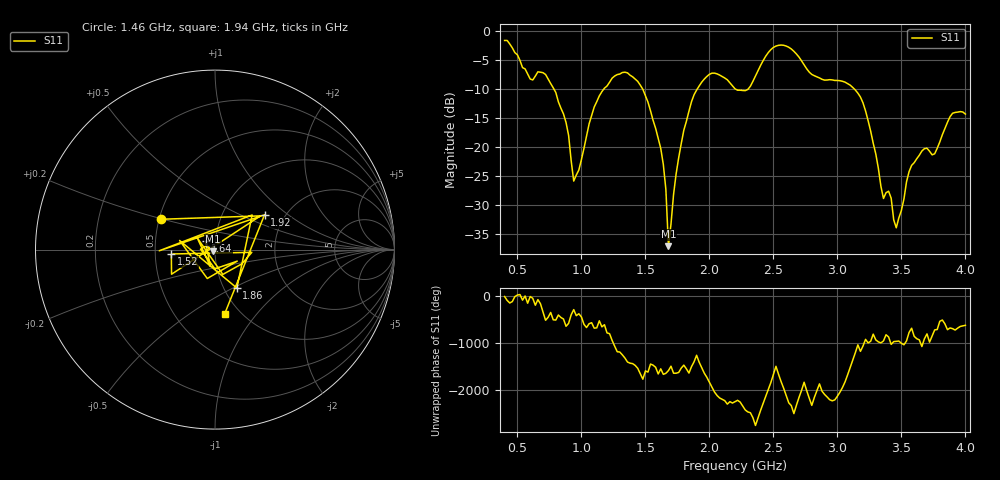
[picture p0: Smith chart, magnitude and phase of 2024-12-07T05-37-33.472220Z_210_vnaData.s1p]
!Created with skrf (http://scikit-rf.org).
# Hz S RI R 50.0
!freq ReS11 ImS11
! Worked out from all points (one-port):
!   181 points, 400 MHz to 4 GHz, reference 50 ohm
!   lowest |S11| = -37.1 dB at 1.68 GHz (marker M1), VSWR 1.03, Z = 48.9 - j0.836 ohm
!   |S11| at or under -10 dB: 785.9 MHz to 1.174 GHz (388.3 MHz wide, 39.6 % of centre); 1.479 GHz to 1.904 GHz (424.8 MHz wide, 25.1 % of centre); 3.134 GHz to end of sweep (the widest 3 of 4)
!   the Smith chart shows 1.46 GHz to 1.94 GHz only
!   S11 on the Smith chart (normalised r, x): 1.46 GHz: 0.51, +0.20; 1.52 GHz: 0.61, -0.03; 1.64 GHz: 0.90, +0.08; 1.86 GHz: 1.15, -0.52; 1.92 GHz: 1.58, +0.69; 1.94 GHz: 0.85, -0.70
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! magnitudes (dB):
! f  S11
! 400 MHz  -1.6
! 600 MHz  -8.2
! 720 MHz  -7.5
! 860 MHz  -14.3
! 940 MHz  -25.9
! 1.1 GHz  -13.1
! 1.3 GHz  -7.4
! 1.46 GHz  -9.3
! 1.52 GHz  -12.2
! 1.64 GHz  -23.0
! 1.66 GHz  -27.3
! 1.68 GHz  -37.1
! 1.76 GHz  -21.8
! 1.86 GHz  -12.2
! 1.92 GHz  -9.4
! 1.94 GHz  -8.8
! 2.2 GHz  -9.9
! 2.3 GHz  -10.0
! 2.5 GHz  -2.8
! 2.66 GHz  -3.5
! 3.1 GHz  -9.3
! 3.2 GHz  -12.4
! 3.36 GHz  -28.9
! 3.4 GHz  -27.6
! 3.46 GHz  -33.9
! 3.56 GHz  -24.2
! 3.9 GHz  -14.2
! 4 GHz  -14.3
